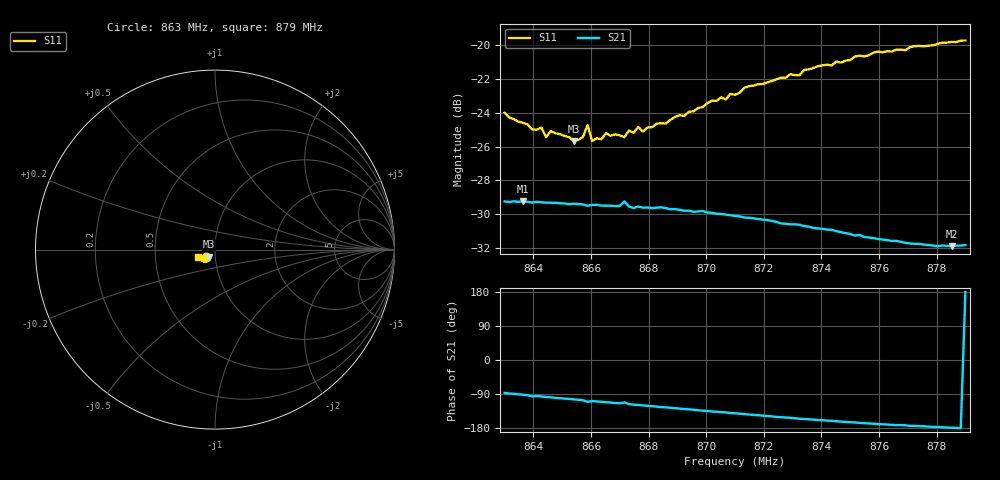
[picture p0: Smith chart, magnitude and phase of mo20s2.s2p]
# HZ S RI R 50
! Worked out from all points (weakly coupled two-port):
!   101 points, 863 MHz to 879 MHz, reference 50 ohm
!   highest |S21| = -29.24 dB at 863.64 MHz (marker M1); lowest = -31.9 dB at 878.52 MHz (marker M2)
!   lowest |S11| = -25.7 dB at 865.4 MHz (marker M3), VSWR 1.11, Z = 46.5 - j3.6 ohm
!   |S11| at or under -10 dB: start of sweep to end of sweep
!   S12 and S22 are empty: the file has one direction only
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8.63e8  -0.0498 -0.0388  0.00189 -0.0344  0 0  0 0
8.6364e8  -0.046 -0.0368  -0.000982 -0.0345  0 0  0 0
8.6396e8  -0.0428 -0.0366  -0.00359 -0.034  0 0  0 0
8.6428e8  -0.0414 -0.0392  -0.00372 -0.034  0 0  0 0
8.6444e8  -0.0393 -0.0362  -0.00457 -0.0339  0 0  0 0
8.646e8  -0.04 -0.0388  -0.00505 -0.0338  0 0  0 0
8.654e8  -0.0348 -0.0386  -0.00814 -0.0329  0 0  0 0
8.6572e8  -0.0346 -0.0408  -0.0093 -0.0325  0 0  0 0
8.6588e8  -0.0392 -0.0428  -0.0117 -0.0313  0 0  0 0
8.6604e8  -0.0323 -0.0408  -0.0106 -0.0319  0 0  0 0
8.6652e8  -0.0323 -0.0444  -0.0123 -0.0312  0 0  0 0
8.6716e8  -0.0254 -0.0469  -0.0128 -0.032  0 0  0 0
8.6732e8  -0.0306 -0.0468  -0.0149 -0.0298  0 0  0 0
8.6748e8  -0.0295 -0.0465  -0.0154 -0.0291  0 0  0 0
8.6764e8  -0.0315 -0.0479  -0.0159 -0.0292  0 0  0 0
8.678e8  -0.0297 -0.0469  -0.0164 -0.0287  0 0  0 0
8.6844e8  -0.03 -0.0505  -0.0187 -0.0273  0 0  0 0
8.71e8  -0.0372 -0.0609  -0.0241 -0.0198  0 0  0 0
8.7372e8  -0.0538 -0.0667  -0.0265 -0.0111  0 0  0 0
8.7644e8  -0.076 -0.0585  -0.026 -0.00404  0 0  0 0
8.7852e8  -0.0914 -0.0461  -0.0254 -0.000576  0 0  0 0
8.79e8  -0.0946 -0.0418  -0.0256 0.000284  0 0  0 0
